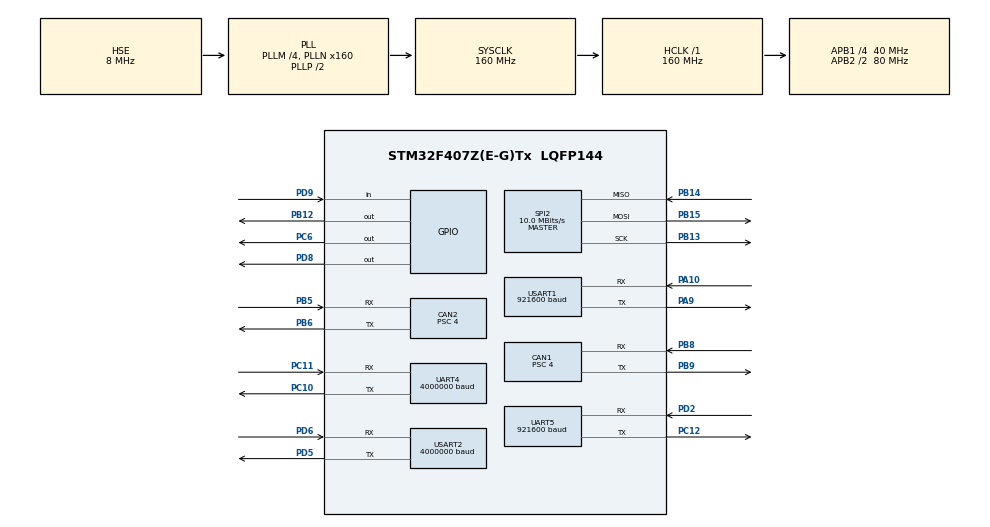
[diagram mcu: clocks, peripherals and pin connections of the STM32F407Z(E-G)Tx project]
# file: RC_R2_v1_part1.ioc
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CAN1.ABOM=ENABLE
CAN1.AWUM=ENABLE
CAN1.BS1=CAN_BS1_6TQ
CAN1.BS2=CAN_BS2_3TQ
CAN1.CalculateBaudRate=1000000
CAN1.CalculateTimeBit=1000
CAN1.CalculateTimeQuantum=100.0
CAN1.NART=ENABLE
CAN1.Prescaler=4
CAN1.TXFP=ENABLE
CAN2.ABOM=ENABLE
CAN2.AWUM=ENABLE
CAN2.BS1=CAN_BS1_6TQ
CAN2.BS2=CAN_BS2_3TQ
CAN2.CalculateBaudRate=1000000
CAN2.CalculateTimeBit=1000
CAN2.CalculateTimeQuantum=100.0
CAN2.NART=ENABLE
CAN2.Prescaler=4
CAN2.TXFP=ENABLE
Dma.Request0=USART1_RX
Dma.Request1=USART1_TX
Dma.Request2=UART4_RX
Dma.Request3=UART4_TX
Dma.Request4=USART2_RX
Dma.Request5=USART2_TX
Dma.Request6=UART5_RX
Dma.Request7=UART5_TX
Dma.UART4_RX.2.Direction=DMA_PERIPH_TO_MEMORY
Dma.UART4_RX.2.FIFOMode=DMA_FIFOMODE_DISABLE
Dma.UART4_RX.2.Instance=DMA1_Stream2
Dma.UART4_RX.2.MemDataAlignment=DMA_MDATAALIGN_BYTE
Dma.UART4_RX.2.MemInc=DMA_MINC_ENABLE
Dma.UART4_RX.2.Mode=DMA_NORMAL
Dma.UART4_RX.2.PeriphDataAlignment=DMA_PDATAALIGN_BYTE
Dma.UART4_RX.2.PeriphInc=DMA_PINC_DISABLE
Dma.UART4_RX.2.Priority=DMA_PRIORITY_LOW
Dma.UART4_TX.3.Direction=DMA_MEMORY_TO_PERIPH
Dma.UART4_TX.3.FIFOMode=DMA_FIFOMODE_DISABLE
Dma.UART4_TX.3.Instance=DMA1_Stream4
Dma.UART4_TX.3.MemDataAlignment=DMA_MDATAALIGN_BYTE
Dma.UART4_TX.3.MemInc=DMA_MINC_ENABLE
Dma.UART4_TX.3.Mode=DMA_NORMAL
Dma.UART4_TX.3.PeriphDataAlignment=DMA_PDATAALIGN_BYTE
Dma.UART4_TX.3.PeriphInc=DMA_PINC_DISABLE
Dma.UART4_TX.3.Priority=DMA_PRIORITY_LOW
Dma.UART5_RX.6.Direction=DMA_PERIPH_TO_MEMORY
Dma.UART5_RX.6.FIFOMode=DMA_FIFOMODE_DISABLE
Dma.UART5_RX.6.Instance=DMA1_Stream0
Dma.UART5_RX.6.MemDataAlignment=DMA_MDATAALIGN_BYTE
Dma.UART5_RX.6.MemInc=DMA_MINC_ENABLE
Dma.UART5_RX.6.Mode=DMA_NORMAL
Dma.UART5_RX.6.PeriphDataAlignment=DMA_PDATAALIGN_BYTE
Dma.UART5_RX.6.PeriphInc=DMA_PINC_DISABLE
Dma.UART5_RX.6.Priority=DMA_PRIORITY_LOW
Dma.UART5_TX.7.Direction=DMA_MEMORY_TO_PERIPH
Dma.UART5_TX.7.FIFOMode=DMA_FIFOMODE_DISABLE
Dma.UART5_TX.7.Instance=DMA1_Stream7
Dma.UART5_TX.7.MemDataAlignment=DMA_MDATAALIGN_BYTE
Dma.UART5_TX.7.MemInc=DMA_MINC_ENABLE
Dma.UART5_TX.7.Mode=DMA_NORMAL
Dma.UART5_TX.7.PeriphDataAlignment=DMA_PDATAALIGN_BYTE
Dma.UART5_TX.7.PeriphInc=DMA_PINC_DISABLE
Dma.UART5_TX.7.Priority=DMA_PRIORITY_LOW
Dma.USART1_RX.0.Direction=DMA_PERIPH_TO_MEMORY
Dma.USART1_RX.0.FIFOMode=DMA_FIFOMODE_DISABLE
Dma.USART1_RX.0.Instance=DMA2_Stream2
Dma.USART1_RX.0.MemDataAlignment=DMA_MDATAALIGN_BYTE
Dma.USART1_RX.0.MemInc=DMA_MINC_ENABLE
Dma.USART1_RX.0.Mode=DMA_NORMAL
Dma.USART1_RX.0.PeriphDataAlignment=DMA_PDATAALIGN_BYTE
Dma.USART1_RX.0.PeriphInc=DMA_PINC_DISABLE
Dma.USART1_RX.0.Priority=DMA_PRIORITY_LOW
Dma.USART1_TX.1.Direction=DMA_MEMORY_TO_PERIPH
Dma.USART1_TX.1.FIFOMode=DMA_FIFOMODE_DISABLE
Dma.USART1_TX.1.Instance=DMA2_Stream7
Dma.USART1_TX.1.MemDataAlignment=DMA_MDATAALIGN_BYTE
Dma.USART1_TX.1.MemInc=DMA_MINC_ENABLE
Dma.USART1_TX.1.Mode=DMA_NORMAL
Dma.USART1_TX.1.PeriphDataAlignment=DMA_PDATAALIGN_BYTE
Dma.USART1_TX.1.PeriphInc=DMA_PINC_DISABLE
Dma.USART1_TX.1.Priority=DMA_PRIORITY_LOW
Dma.USART2_RX.4.Direction=DMA_PERIPH_TO_MEMORY
Dma.USART2_RX.4.FIFOMode=DMA_FIFOMODE_DISABLE
Dma.USART2_RX.4.Instance=DMA1_Stream5
Dma.USART2_RX.4.MemDataAlignment=DMA_MDATAALIGN_BYTE
Dma.USART2_RX.4.MemInc=DMA_MINC_ENABLE
Dma.USART2_RX.4.Mode=DMA_NORMAL
Dma.USART2_RX.4.PeriphDataAlignment=DMA_PDATAALIGN_BYTE
Dma.USART2_RX.4.PeriphInc=DMA_PINC_DISABLE
Dma.USART2_RX.4.Priority=DMA_PRIORITY_LOW
Dma.USART2_TX.5.Direction=DMA_MEMORY_TO_PERIPH
Dma.USART2_TX.5.FIFOMode=DMA_FIFOMODE_DISABLE
Dma.USART2_TX.5.Instance=DMA1_Stream6
Dma.USART2_TX.5.MemDataAlignment=DMA_MDATAALIGN_BYTE
Dma.USART2_TX.5.MemInc=DMA_MINC_ENABLE
Dma.USART2_TX.5.Mode=DMA_NORMAL
Dma.USART2_TX.5.PeriphDataAlignment=DMA_PDATAALIGN_BYTE
Dma.USART2_TX.5.PeriphInc=DMA_PINC_DISABLE
Dma.USART2_TX.5.Priority=DMA_PRIORITY_LOW
FREERTOS.Tasks01=Task1,24,1024,TASK1,Default,NULL,Dynamic,NULL,NULL;Task2,24,1024,TASK2,Default,NULL,Dynamic,NULL,NULL;Task3,24,256,TASK3,Default,NULL,Dynamic,NULL,NULL;Task4,24,256,TASK4,Default,NULL,Dynamic,NULL,NULL;Task5,24,256,TASK5,Default,NULL,Dynamic,NULL,NULL;Task6,24,256,TASK6,Default,NULL,Dynamic,NULL,NULL
Mcu.Family=STM32F4
Mcu.Name=STM32F407Z(E-G)Tx
Mcu.Package=LQFP144
NVIC.CAN1_RX0_IRQn=true\:5\:0\:false\:false\:true\:true\:true\:true\:true
NVIC.CAN2_RX0_IRQn=true\:5\:0\:false\:false\:true\:true\:true\:true\:true
NVIC.DMA1_Stream0_IRQn=true\:5\:0\:false\:false\:true\:true\:false\:true\:true
NVIC.DMA1_Stream2_IRQn=true\:5\:0\:false\:false\:true\:true\:false\:true\:true
NVIC.DMA1_Stream4_IRQn=true\:5\:0\:false\:false\:true\:true\:false\:true\:true
NVIC.DMA1_Stream5_IRQn=true\:5\:0\:false\:false\:true\:true\:false\:true\:true
NVIC.DMA1_Stream6_IRQn=true\:5\:0\:false\:false\:true\:true\:false\:true\:true
NVIC.DMA1_Stream7_IRQn=true\:5\:0\:false\:false\:true\:true\:false\:true\:true
NVIC.DMA2_Stream2_IRQn=true\:5\:0\:false\:false\:true\:true\:false\:true\:true
NVIC.DMA2_Stream7_IRQn=true\:5\:0\:false\:false\:true\:true\:false\:true\:true
NVIC.PriorityGroup=NVIC_PRIORITYGROUP_4
NVIC.SPI2_IRQn=true\:5\:0\:false\:false\:true\:true\:true\:true\:true
NVIC.TIM2_IRQn=true\:5\:0\:false\:false\:true\:true\:true\:true\:true
NVIC.TIM6_DAC_IRQn=true\:15\:0\:false\:false\:true\:false\:false\:true\:true
NVIC.TimeBase=TIM6_DAC_IRQn
NVIC.TimeBaseIP=TIM6
NVIC.UART4_IRQn=true\:5\:0\:false\:false\:true\:true\:true\:true\:true
NVIC.UART5_IRQn=true\:5\:0\:false\:false\:true\:true\:true\:true\:true
NVIC.USART1_IRQn=true\:5\:0\:false\:false\:true\:true\:true\:true\:true
NVIC.USART2_IRQn=true\:5\:0\:false\:false\:true\:true\:true\:true\:true
PA10.GPIO_PuPd=GPIO_PULLUP
PA10.Mode=Asynchronous
PA10.Signal=USART1_RX
PA13.Mode=Serial_Wire
PA13.Signal=SYS_JTMS-SWDIO
PA14.Mode=Serial_Wire
PA14.Signal=SYS_JTCK-SWCLK
PA9.GPIO_PuPd=GPIO_PULLUP
PA9.Mode=Asynchronous
PA9.Signal=USART1_TX
PB12.GPIO_Speed=GPIO_SPEED_FREQ_VERY_HIGH
PB12.PinState=GPIO_PIN_SET
PB12.Signal=GPIO_Output
PB13.Mode=Full_Duplex_Master
PB13.Signal=SPI2_SCK
PB14.Mode=Full_Duplex_Master
PB14.Signal=SPI2_MISO
PB15.Mode=Full_Duplex_Master
PB15.Signal=SPI2_MOSI
PB5.GPIO_PuPd=GPIO_PULLUP
PB5.Mode=CAN_Activate
PB5.Signal=CAN2_RX
PB6.GPIO_PuPd=GPIO_PULLUP
PB6.Mode=CAN_Activate
PB6.Signal=CAN2_TX
PB8.GPIO_PuPd=GPIO_PULLUP
PB8.Mode=CAN_Activate
PB8.Signal=CAN1_RX
PB9.GPIO_PuPd=GPIO_PULLUP
PB9.Mode=CAN_Activate
PB9.Signal=CAN1_TX
PC10.GPIO_PuPd=GPIO_PULLUP
PC10.Mode=Asynchronous
PC10.Signal=UART4_TX
PC11.GPIO_PuPd=GPIO_PULLUP
PC11.Mode=Asynchronous
PC11.Signal=UART4_RX
PC12.GPIO_PuPd=GPIO_PULLUP
PC12.Mode=Asynchronous
PC12.Signal=UART5_TX
PC14-OSC32_IN.Mode=LSE-External-Oscillator
PC14-OSC32_IN.Signal=RCC_OSC32_IN
PC15-OSC32_OUT.Mode=LSE-External-Oscillator
PC15-OSC32_OUT.Signal=RCC_OSC32_OUT
PC6.GPIO_Speed=GPIO_SPEED_FREQ_VERY_HIGH
PC6.Signal=GPIO_Output
PD2.GPIO_PuPd=GPIO_PULLUP
PD2.Mode=Asynchronous
PD2.Signal=UART5_RX
PD5.GPIO_PuPd=GPIO_PULLUP
PD5.Mode=Asynchronous
PD5.Signal=USART2_TX
PD6.GPIO_PuPd=GPIO_PULLUP
PD6.Mode=Asynchronous
PD6.Signal=USART2_RX
PD8.GPIO_Speed=GPIO_SPEED_FREQ_VERY_HIGH
PD8.Signal=GPIO_Output
PD9.GPIO_PuPd=GPIO_PULLUP
PD9.Signal=GPIO_Input
PH0-OSC_IN.Mode=HSE-External-Oscillator
PH0-OSC_IN.Signal=RCC_OSC_IN
PH1-OSC_OUT.Mode=HSE-External-Oscillator
PH1-OSC_OUT.Signal=RCC_OSC_OUT
ProjectManager.HeapSize=0x200
ProjectManager.StackSize=0x400
ProjectManager.TargetToolchain=MDK-ARM V5.32
RCC.48MHZClocksFreq_Value=80000000
RCC.AHBFreq_Value=160000000
RCC.APB1CLKDivider=RCC_HCLK_DIV4
RCC.APB1Freq_Value=40000000
RCC.APB1TimFreq_Value=80000000
RCC.APB2CLKDivider=RCC_HCLK_DIV2
RCC.APB2Freq_Value=80000000
RCC.APB2TimFreq_Value=160000000
RCC.CortexFreq_Value=160000000
RCC.HCLKFreq_Value=160000000
RCC.HSE_VALUE=8000000
RCC.HSI_VALUE=16000000
RCC.PLLM=4
RCC.PLLN=160
RCC.PLLSourceVirtual=RCC_PLLSOURCE_HSE
RCC.SYSCLKFreq_VALUE=160000000
RCC.SYSCLKSource=RCC_SYSCLKSOURCE_PLLCLK
RCC.VCOOutputFreq_Value=320000000
SPI2.BaudRatePrescaler=SPI_BAUDRATEPRESCALER_4
SPI2.CalculateBaudRate=10.0 MBits/s
SPI2.Direction=SPI_DIRECTION_2LINES
SPI2.Mode=SPI_MODE_MASTER
SPI2.VirtualType=VM_MASTER
TIM2.AutoReloadPreload=TIM_AUTORELOAD_PRELOAD_ENABLE
TIM2.Period=999
TIM2.Prescaler=79
UART4.BaudRate=4000000
UART4.OverSampling=UART_OVERSAMPLING_8
UART4.VirtualMode=Asynchronous
UART5.BaudRate=921600
UART5.VirtualMode=Asynchronous
USART1.BaudRate=921600
USART1.VirtualMode=VM_ASYNC
USART2.BaudRate=4000000
USART2.OverSampling=UART_OVERSAMPLING_8
USART2.VirtualMode=VM_ASYNC
VP_FREERTOS_VS_CMSIS_V2.Mode=CMSIS_V2
VP_SYS_VS_tim6.Mode=TIM6
VP_TIM2_VS_ClockSourceINT.Mode=Internal
board=custom

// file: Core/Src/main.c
/* USER CODE BEGIN Header */
/**
 ******************************************************************************
 * @file           : main.c
 * @brief          : Main program body
 ******************************************************************************
 * @attention
 *
 * Copyright (c) 2025 STMicroelectronics.
 * All rights reserved.
 *
 * This software is licensed under terms that can be found in the LICENSE file
 * in the root directory of this software component.
 * If no LICENSE file comes with this software, it is provided AS-IS.
 *
 ******************************************************************************
 */
/* USER CODE END Header */
#include "main.h"
#include "cmsis_os.h"
#include "can.h"
#include "dma.h"
#include "spi.h"
#include "tim.h"
#include "usart.h"
#include "gpio.h"

/* USER CODE BEGIN Includes */
#include "can_bsp.h"
#include "global_declare.h"
#include "algorithm.h"
#include "auto_path.h"
/* USER CODE END Includes */

void SystemClock_Config(void);
void MX_FREERTOS_Init(void);

int main(void)
{

  /* MCU Configuration--------------------------------------------------------*/

  /* Reset of all peripherals, Initializes the Flash interface and the Systick. */
  HAL_Init();

  /* Configure the system clock */
  SystemClock_Config();

  /* Initialize all configured peripherals */
  MX_GPIO_Init();
  MX_DMA_Init();
  MX_SPI2_Init();
  MX_USART1_UART_Init();
  MX_CAN1_Init();
  MX_CAN2_Init();
  MX_TIM2_Init();
  MX_UART4_Init();
  MX_USART2_UART_Init();
  MX_UART5_Init();
  /* USER CODE BEGIN 2 */

  __HAL_UART_ENABLE_IT(&huart1, UART_IT_IDLE);
  HAL_UART_Receive_DMA(&huart1, down_rx, 17);
  __HAL_UART_ENABLE_IT(&huart5, UART_IT_IDLE);
  HAL_UART_Receive_DMA(&huart5, vision_rec, 49);

  HAL_TIM_Base_Start_IT(&htim2);

  can1_start();
  can2_start();

  J60_MOTOR_ENABLE(&hcan2, &j60_motor_cmd_down);

  __HAL_UART_ENABLE_IT(&huart2, UART_IT_IDLE);
  HAL_UART_Receive_DMA(&huart2, (uint8_t *)&go1_recv_left.motor_recv_data, sizeof(go1_recv_left.motor_recv_data));
  __HAL_UART_ENABLE_IT(&huart4, UART_IT_IDLE);
  HAL_UART_Receive_DMA(&huart4, (uint8_t *)&go1_recv_right.motor_recv_data, sizeof(go1_recv_right.motor_recv_data));

  SET_NAV_PATH_PERMUTATION();
  /* USER CODE END 2 */

  /* Init scheduler */
  osKernelInitialize();  /* Call init function for freertos objects (in cmsis_os2.c) */
  MX_FREERTOS_Init();

  /* Start scheduler */
  osKernelStart();

  /* We should never get here as control is now taken by the scheduler */

  /* Infinite loop */
  while (1)
  {

  }
}

void SystemClock_Config(void)
{
  RCC_OscInitTypeDef RCC_OscInitStruct = {0};
  RCC_ClkInitTypeDef RCC_ClkInitStruct = {0};

  /** Configure the main internal regulator output voltage
  */
  __HAL_RCC_PWR_CLK_ENABLE();
  __HAL_PWR_VOLTAGESCALING_CONFIG(PWR_REGULATOR_VOLTAGE_SCALE1);

  /** Initializes the RCC Oscillators according to the specified parameters
  * in the RCC_OscInitTypeDef structure.
  */
  RCC_OscInitStruct.OscillatorType = RCC_OSCILLATORTYPE_HSE;
  RCC_OscInitStruct.HSEState = RCC_HSE_ON;
  RCC_OscInitStruct.PLL.PLLState = RCC_PLL_ON;
  RCC_OscInitStruct.PLL.PLLSource = RCC_PLLSOURCE_HSE;
  RCC_OscInitStruct.PLL.PLLM = 4;
  RCC_OscInitStruct.PLL.PLLN = 160;
  RCC_OscInitStruct.PLL.PLLP = RCC_PLLP_DIV2;
  RCC_OscInitStruct.PLL.PLLQ = 4;
  if (HAL_RCC_OscConfig(&RCC_OscInitStruct) != HAL_OK)
  {
    Error_Handler();
  }

  /** Initializes the CPU, AHB and APB buses clocks
  */
  RCC_ClkInitStruct.ClockType = RCC_CLOCKTYPE_HCLK|RCC_CLOCKTYPE_SYSCLK
                              |RCC_CLOCKTYPE_PCLK1|RCC_CLOCKTYPE_PCLK2;
  RCC_ClkInitStruct.SYSCLKSource = RCC_SYSCLKSOURCE_PLLCLK;
  RCC_ClkInitStruct.AHBCLKDivider = RCC_SYSCLK_DIV1;
  RCC_ClkInitStruct.APB1CLKDivider = RCC_HCLK_DIV4;
  RCC_ClkInitStruct.APB2CLKDivider = RCC_HCLK_DIV2;

  if (HAL_RCC_ClockConfig(&RCC_ClkInitStruct, FLASH_LATENCY_5) != HAL_OK)
  {
    Error_Handler();
  }
}

void HAL_TIM_PeriodElapsedCallback(TIM_HandleTypeDef *htim)
{
  if (htim->Instance == TIM6)
  {
    HAL_IncTick();
  }
}

void Error_Handler(void)
{
  __disable_irq();
  while (1)
  {
  }
}

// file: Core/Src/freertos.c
/* USER CODE BEGIN Header */
/**
 ******************************************************************************
 * File Name          : freertos.c
 * Description        : Code for freertos applications
 ******************************************************************************
 * @attention
 *
 * Copyright (c) 2025 STMicroelectronics.
 * All rights reserved.
 *
 * This software is licensed under terms that can be found in the LICENSE file
 * in the root directory of this software component.
 * If no LICENSE file comes with this software, it is provided AS-IS.
 *
 ******************************************************************************
 */
/* USER CODE END Header */

#include "FreeRTOS.h"
#include "task.h"
#include "main.h"
#include "cmsis_os.h"

/* USER CODE BEGIN Includes */
#include "global_declare.h"
#include "motor_dji_sdk.h"
#include "j60_sdk.h"
#include "go1_sdk.h"
#include "NRF24L01.h"
#include "remote_control.h"
#include "navigate.h"
#include "chassis.h"
#include "foot.h"
#include "board_communicate.h"
//#include "vofa.h"
#include "vision.h"
#include "action.h"
/* USER CODE END Includes */

/* USER CODE BEGIN Variables */
extern UART_HandleTypeDef huart1, huart2, huart4;
/* USER CODE END Variables */
/* Definitions for Task1 */
osThreadId_t Task1Handle;
const osThreadAttr_t Task1_attributes = {
  .name = "Task1",
  .stack_size = 1024 * 4,
  .priority = (osPriority_t) osPriorityNormal,
};
/* Definitions for Task2 */
osThreadId_t Task2Handle;
const osThreadAttr_t Task2_attributes = {
  .name = "Task2",
  .stack_size = 1024 * 4,
  .priority = (osPriority_t) osPriorityNormal,
};
/* Definitions for Task3 */
osThreadId_t Task3Handle;
const osThreadAttr_t Task3_attributes = {
  .name = "Task3",
  .stack_size = 256 * 4,
  .priority = (osPriority_t) osPriorityNormal,
};
/* Definitions for Task4 */
osThreadId_t Task4Handle;
const osThreadAttr_t Task4_attributes = {
  .name = "Task4",
  .stack_size = 256 * 4,
  .priority = (osPriority_t) osPriorityNormal,
};
/* Definitions for Task5 */
osThreadId_t Task5Handle;
const osThreadAttr_t Task5_attributes = {
  .name = "Task5",
  .stack_size = 256 * 4,
  .priority = (osPriority_t) osPriorityNormal,
};
/* Definitions for Task6 */
osThreadId_t Task6Handle;
const osThreadAttr_t Task6_attributes = {
  .name = "Task6",
  .stack_size = 256 * 4,
  .priority = (osPriority_t) osPriorityNormal,
};

void TASK1(void *argument);
void TASK2(void *argument);
void TASK3(void *argument);
void TASK4(void *argument);
void TASK5(void *argument);
void TASK6(void *argument);

void MX_FREERTOS_Init(void); /* (MISRA C 2004 rule 8.1) */

void MX_FREERTOS_Init(void) {

  /* Create the thread(s) */
  /* creation of Task1 */
  Task1Handle = osThreadNew(TASK1, NULL, &Task1_attributes);

  /* creation of Task2 */
  Task2Handle = osThreadNew(TASK2, NULL, &Task2_attributes);

  /* creation of Task3 */
  Task3Handle = osThreadNew(TASK3, NULL, &Task3_attributes);

  /* creation of Task4 */
  Task4Handle = osThreadNew(TASK4, NULL, &Task4_attributes);

  /* creation of Task5 */
  Task5Handle = osThreadNew(TASK5, NULL, &Task5_attributes);

  /* creation of Task6 */
  Task6Handle = osThreadNew(TASK6, NULL, &Task6_attributes);

}

void TASK1(void *argument)
{
  /* USER CODE BEGIN TASK1 */

  /* Infinite loop */
  for (;;)
  {
    monitor.rate_cnt.task1++;
    Foot_WorkLoop();

    J60_LOOP_CONTROL(&hcan2, &j60_motor_cmd_down, foot.down_aim_angle, 0, foot_g_feedforward.down, j60_motor_cmd_down.kp_, j60_motor_cmd_down.kd_, &j60_motor_data_down);
    GO1_Tx(&go1_send_left, &huart2, foot.leftup_aim_angle, 0, foot_g_feedforward.leftup, go1_send_left.K_P, go1_send_left.K_W);
		HAL_GPIO_WritePin(GPIOC, GPIO_PIN_6, 1);
    GO1_Tx(&go1_send_right, &huart4, foot.rightup_aim_angle, 0, foot_g_feedforward.rightup, go1_send_right.K_P, go1_send_right.K_W);

    osDelay(pdMS_TO_TICKS(1));
  }
  /* USER CODE END TASK1 */
}

void TASK2(void *argument)
{
  /* USER CODE BEGIN TASK2 */
  /* Infinite loop */
  for (;;)
  {
    monitor.rate_cnt.task2++;
    Navigate_Task();

    osDelay(pdMS_TO_TICKS(1));
  }
  /* USER CODE END TASK2 */
}

void TASK3(void *argument)
{
  /* USER CODE BEGIN TASK3 */
  /* Infinite loop */
  for (;;)
  {
    monitor.rate_cnt.task3++;
    Drive_Chassis();
    osDelay(pdMS_TO_TICKS(1));
  }
  /* USER CODE END TASK3 */
}

void TASK4(void *argument)
{
  /* USER CODE BEGIN TASK4 */
  /* Infinite loop */
  for (;;)
  {
    monitor.rate_cnt.task4++;
    Vision_Transmit();

    Upper_Lower_Communication();

//    VOFA_pack_data();
//    VOFA_transmit_data(vofa, 20);

    osDelay(pdMS_TO_TICKS(1));
  }
  /* USER CODE END TASK4 */
}

void TASK5(void *argument)
{
  /* USER CODE BEGIN TASK5 */
  /* Infinite loop */
  for (;;)
  {
    monitor.rate_cnt.task5++;

    if (!NRF24L01_Check() && !FLAG_NRF)
    {
      NRF24L01_RX_Mode();
      FLAG_NRF = 1;
    }

    if (FLAG_NRF == 1)
    {
      nRF24L01_ack_pay.Ack_Channel = 0;
      nRF24L01_ack_pay.Ack_Status = 3;
      nRF24L01_ack_pay.Ack_Len = ACK_PLOAD_WIDTH;

      parseDataPacket(nRF24L01_RxBuf, &Js_Value);
      Deal_Key_State(&Js_Value);

      NRF24L01_RxPacket(nRF24L01_RxBuf);
      NRF24L01_Rx_AckPayload(nRF24L01_ack_pay);

      time_cnt = tim_ms;
      if (time_cnt - time_cnt_pre >= 1000)
      {
        NRF24L01_RX_Mode();
        time_cnt_pre = time_cnt;
      }
    }

    osDelay(pdMS_TO_TICKS(3));
  }
  /* USER CODE END TASK5 */
}

void TASK6(void *argument)
{
  /* USER CODE BEGIN TASK6 */
  /* Infinite loop */
  for (;;)
  {
    monitor.rate_cnt.task6++;

    Part0_INIT();
		Part2_begin();
    Part1_action();
    Part2_123_action();
    Part2_action();
      //Part3_action();

    osDelay(pdMS_TO_TICKS(1));
  }
  /* USER CODE END TASK6 */
}
